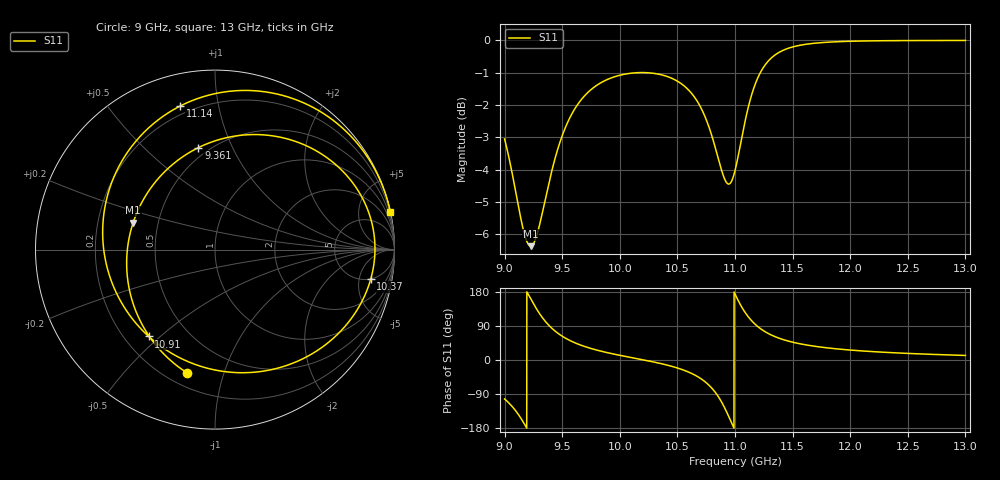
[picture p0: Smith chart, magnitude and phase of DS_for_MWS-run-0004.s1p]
! TOUCHSTONE file generated by CST DESIGN STUDIO
! Date and time: Wed Feb  5 13:47:40 2025
! Project name: C:\Work\MatlabApps\UnitCellOptimizationMatlab\CST\unitcell.cst
! Tree item: Tasks\Sweep1\SPara1\S-Parameters
! Header version: 2024
! Port assignment regex: !\s*Touchstone port\s*([0-9]+)\s*=\s*(CST MWS port|CST DES external port|CST DES block port)\s*(.+)\s* \(\"(.*)\"\)(\s*mode\s*([0-9]+))?.*
! Touchstone port assignment:
! Touchstone port 1 = CST DES external port 1 ("")
# GHz S MA R 50
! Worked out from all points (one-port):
!   4001 points, 9 GHz to 13 GHz, reference 50 ohm
!   lowest |S11| = -6.4 dB at 9.226 GHz (marker M1), VSWR 2.85, Z = 18 + j7 ohm
!   |S11| at or under -10 dB: nowhere
!   S11 on the Smith chart (normalised r, x): 9 GHz: 0.28, -0.76; 9.361 GHz: 0.44, +0.75; 10.37 GHz: 5.02, -7.43; 10.91 GHz: 0.30, -0.46; 11.14 GHz: 0.16, +0.77; 13 GHz: 0.02, +9.51
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9  0.7034 -102.9
9.061  0.6285 -121.1
9.131  0.5406 -148.9
9.226  0.4801 161.8
9.296  0.5116 125.7
9.361  0.5758 99.2
9.5  0.7117 62.8
9.6  0.7784 46.7
9.711  0.8266 34.0
10  0.883 12.4
10.373  0.8833 -10.6
10.5  0.8645 -21.1
10.624  0.8274 -35.6
10.723  0.7739 -53.4
10.832  0.679 -86.6
10.912  0.6088 -127.3
10.959  0.6009 -158.1
11  0.6284 174.3
11.036  0.6735 152.0
11.076  0.7326 130.9
11.144  0.823 103.7
11.212  0.8857 84.8
11.304  0.9349 67.6
11.5  0.9767 47.0
11.706  0.9903 35.6
12  0.9966 26.2
12.5  0.9992 17.4
13  0.9996 12.0
